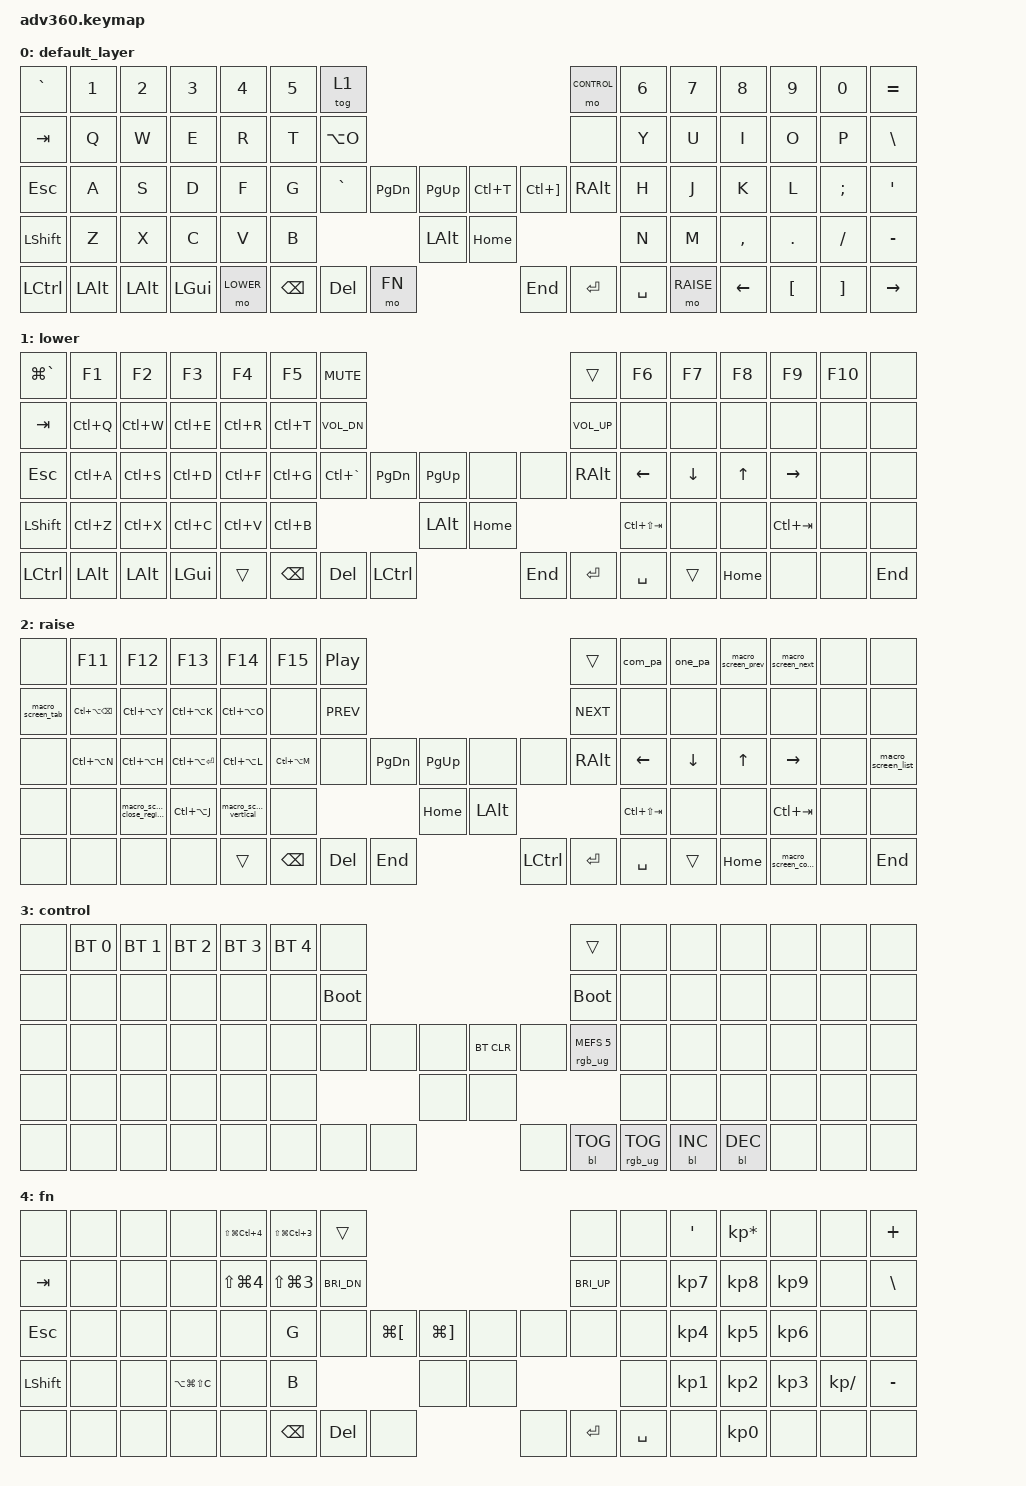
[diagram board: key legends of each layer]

/*
 * Copyright (c) 2020 The ZMK Contributors
 *
 * SPDX-License-Identifier: MIT
 */


/* THIS FILE WAS GENERATED!
 *
 * This file was generated automatically. You may or may not want to
 * edit it directly.
 */

#include <behaviors.dtsi>
#include <dt-bindings/zmk/keys.h>
#include <dt-bindings/zmk/bt.h>
#include <dt-bindings/zmk/rgb.h>
#include <dt-bindings/zmk/backlight.h>

#define DEFAULT 0
#define LOWER 1
#define RAISE 2
#define CONTROL 3
#define FN 4

#define MACRO(name, keys)                 \
name: name##_macro {                      \
    label          = #name;               \
    compatible     = "zmk,behavior-macro";\
    tap-ms         = <1>;                 \
    wait-ms        = <1>;                 \
    #binding-cells = <0>;                 \
    bindings       = <keys>;              \
};

/ {
    macros {
        MACRO(com_pa,  &kp D)
        MACRO(one_pa,  &kp D)
    };
};

/ {
  behaviors {
    #include "macros.dtsi"

    hm: homerow_mods {
        compatible = "zmk,behavior-hold-tap";
        label = "HOMEROW_MODS";
        #binding-cells = <2>;
        tapping-term-ms = <200>;
        quick_tap_ms = <175>;
        flavor = "tap-preferred";
        bindings = <&kp>, <&kp>;
    };
  };

    keymap {
        compatible = "zmk,keymap";

        default_layer {
            bindings = <
&kp GRAVE  &kp N1    &kp N2     &kp N3     &kp N4    &kp N5 &tog 1                                                                   &mo CONTROL   &kp N6     &kp N7    &kp N8     &kp N9     &kp N0    &kp EQUAL
&kp TAB    &kp Q     &kp W      &kp E      &kp R     &kp T  &kp LA(O)                                                                &none         &kp Y      &kp U     &kp I      &kp O      &kp P     &kp BSLH
&kp ESC    &kp A     &kp S      &kp D      &kp F     &kp G  &kp GRAVE        &kp PG_DN &kp PG_UP    &kp LC(T)  &kp LC(RBKT)          &kp RALT      &kp H      &kp J     &kp K      &kp L      &kp SEMI  &kp SQT
&kp LSHFT  &kp Z     &kp X      &kp C      &kp V     &kp B                             &kp LALT     &kp HOME                                       &kp N      &kp M     &kp COMMA  &kp DOT    &kp FSLH  &kp MINUS
&kp LCTRL  &kp LALT  &kp LALT   &kp LGUI   &mo LOWER                &kp BSPC &kp DEL   &mo FN       &kp END    &kp ENTER  &kp SPACE                           &mo RAISE &kp LEFT   &kp LBKT   &kp RBKT  &kp RIGHT
            >;
        };

        lower {
            bindings = <
&kp LG(GRAVE) &kp F1    &kp F2    &kp F3     &kp F4    &kp F5    &kp C_MUTE                                                      &trans        &kp F6              &kp F7    &kp F8     &kp F9      &kp F10   &none
&kp TAB       &kp LC(Q) &kp LC(W) &kp LC(E)  &kp LC(R) &kp LC(T) &kp C_VOL_DN                                                    &kp C_VOL_UP  &none               &none     &none      &none       &none     &none
&kp ESC       &kp LC(A) &kp LC(S) &kp LC(D)  &kp LC(F) &kp LC(G) &kp LC(GRAVE)   &kp PG_DN &kp PG_UP   &none     &none           &kp RALT      &kp LEFT            &kp DOWN  &kp UP     &kp RIGHT   &none     &none
&kp LSHFT     &kp LC(Z) &kp LC(X) &kp LC(C)  &kp LC(V) &kp LC(B)                           &kp LALT    &kp HOME                                &kp LC(LS(TAB))     &none     &none      &kp LC(TAB) &none     &none
&kp LCTRL     &kp LALT  &kp LALT  &kp LGUI   &trans                     &kp BSPC &kp DEL   &kp LCTRL   &kp END   &kp ENTER  &kp SPACE                              &trans    &kp HOME   &none       &none     &kp END
            >;
        };

        raise {
            bindings = <
&none              &kp F11            &kp F12                      &kp F13             &kp F14                 &kp F15        &kp C_PP                                                      &trans     &com_pa              &one_pa   &macro_screen_prev      &macro_screen_next        &none     &none
&macro_screen_tab  &kp LC(LA(BSPC))   &kp LC(LA(Y))                &kp LC(LA(K))       &kp LC(LA(O))           &none          &kp C_PREV                                                    &kp C_NEXT &none                &none     &none                   &none                     &none     &none
&none              &kp LC(LA(N))      &kp LC(LA(H))                &kp LC(LA(ENTER))   &kp LC(LA(L))           &kp LC(LA(M))  &none       &kp PG_DN &kp PG_UP     &none     &none           &kp RALT   &kp LEFT             &kp DOWN  &kp UP                  &kp RIGHT                 &none     &macro_screen_list
&none              &none              &macro_screen_close_region   &kp LC(LA(J))       &macro_screen_vertical  &none                                &kp HOME      &kp LALT                             &kp LC(LS(TAB))      &none     &none                   &kp LC(TAB)               &none     &none
&none              &none              &none                        &none               &trans                                      &kp BSPC &kp DEL &kp END       &kp LCTRL &kp ENTER  &kp SPACE                            &trans    &kp HOME                &macro_screen_copy        &none     &kp END
            >;
        };

        control {
          bindings = <
            &none &bt BT_SEL 0 &bt BT_SEL 1 &bt BT_SEL 2 &bt BT_SEL 3 &bt BT_SEL 4 &none                                                                        &trans                 &none        &none        &none        &none &none &none
            &none &none        &none        &none        &none        &none        &bootloader                                                                  &bootloader            &none        &none        &none        &none &none &none
            &none &none        &none        &none        &none        &none        &none                   &none &none    &bt BT_CLR &none                      &rgb_ug RGB_MEFS_CMD 5 &none        &none        &none        &none &none &none
            &none &none        &none        &none        &none        &none                                      &none    &none                                                        &none        &none        &none        &none &none &none
            &none &none        &none        &none        &none                                       &none &none &none    &none      &bl BL_TOG &rgb_ug RGB_TOG                                     &bl BL_INC   &bl BL_DEC   &none &none &none
          >;
        };

        fn {
          bindings = <
            &none     &none &none &none             &kp LS(LG(LC(N4))) &kp LS(LG(LC(N3))) &trans                                                               &none        &none &kp SQT   &kp KP_MULTIPLY &none     &none         &kp PLUS
            &kp TAB   &none &none &none             &kp LS(LG(N4))     &kp LS(LG(N3))     &kp C_BRI_DN                                                         &kp C_BRI_UP &none &kp KP_N7 &kp KP_N8       &kp KP_N9 &none         &kp BSLH
            &kp ESC   &none &none &none             &none              &kp G              &none                &kp LG(LBKT) &kp LG(RBKT)  &none &none          &none        &none &kp KP_N4 &kp KP_N5       &kp KP_N6 &none         &none
            &kp LSHFT &none &none &kp LA(LG(LS(C))) &none              &kp B                                                &none         &none                             &none &kp KP_N1 &kp KP_N2       &kp KP_N3 &kp KP_DIVIDE &kp MINUS
            &none     &none &none &none &none                                                         &kp BSPC &kp DEL      &none         &none &kp ENTER &kp SPACE               &none     &kp KP_N0       &none     &none         &none
          >;
        };

    };
};
